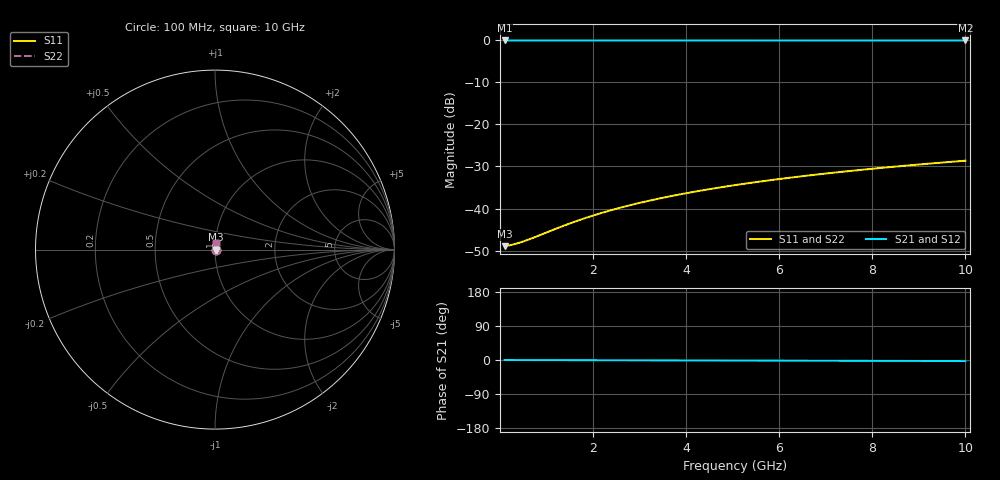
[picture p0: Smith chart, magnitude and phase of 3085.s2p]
# Hz S RI R 50.00
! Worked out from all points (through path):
!   100 points, 100 MHz to 10 GHz, reference 50 ohm
!   highest |S21| = -0.03 dB at 100 MHz (marker M1); lowest = 0.0 dB at 10 GHz (marker M2)
!   lowest |S11| = -49.0 dB at 100 MHz (marker M3), VSWR 1.01, Z = 50.4 + j0.0369 ohm
!   |S11| at or under -10 dB: start of sweep to end of sweep
!   |S22| runs from -49.0 to -28.6 dB; largest |S21 - S12| = 0
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1e8  0.00355 0.000366  0.9965 -0.000492  0.9965 -0.000492  0.00355 0.000366
2e8  0.00357 0.000732  0.9964 -0.000984  0.9964 -0.000984  0.00357 0.000732
3e8  0.00359 0.0011  0.9964 -0.00148  0.9964 -0.00148  0.00359 0.0011
4e8  0.0036 0.00146  0.9964 -0.00197  0.9964 -0.00197  0.0036 0.00146
5e8  0.00362 0.00183  0.9964 -0.00246  0.9964 -0.00246  0.00362 0.00183
7e8  0.00364 0.00256  0.9964 -0.00344  0.9964 -0.00344  0.00364 0.00256
1.4e9  0.00372 0.00513  0.9963 -0.00689  0.9963 -0.00689  0.00372 0.00513
1.8e9  0.00376 0.00659  0.9962 -0.00886  0.9962 -0.00886  0.00376 0.00659
2.2e9  0.0038 0.00805  0.9962 -0.0108  0.9962 -0.0108  0.0038 0.00805
2.6e9  0.00385 0.00952  0.9961 -0.0128  0.9961 -0.0128  0.00385 0.00952
3e9  0.00391 0.011  0.9961 -0.0148  0.9961 -0.0148  0.00391 0.011
3.4e9  0.00397 0.0124  0.996 -0.0167  0.996 -0.0167  0.00397 0.0124
3.8e9  0.00403 0.0139  0.996 -0.0187  0.996 -0.0187  0.00403 0.0139
4.2e9  0.0041 0.0154  0.9959 -0.0207  0.9959 -0.0207  0.0041 0.0154
4.6e9  0.00418 0.0168  0.9958 -0.0226  0.9958 -0.0226  0.00418 0.0168
5.1e9  0.00428 0.0187  0.9957 -0.0251  0.9957 -0.0251  0.00428 0.0187
5.9e9  0.00445 0.0216  0.9955 -0.029  0.9955 -0.029  0.00445 0.0216
6.7e9  0.00466 0.0245  0.9953 -0.033  0.9953 -0.033  0.00466 0.0245
7.5e9  0.00488 0.0274  0.9951 -0.0369  0.9951 -0.0369  0.00488 0.0274
8.4e9  0.00516 0.0307  0.9948 -0.0413  0.9948 -0.0413  0.00516 0.0307
9.2e9  0.00543 0.0336  0.9945 -0.0452  0.9945 -0.0452  0.00543 0.0336
1e10  0.00573 0.0366  0.9942 -0.0492  0.9942 -0.0492  0.00573 0.0366
